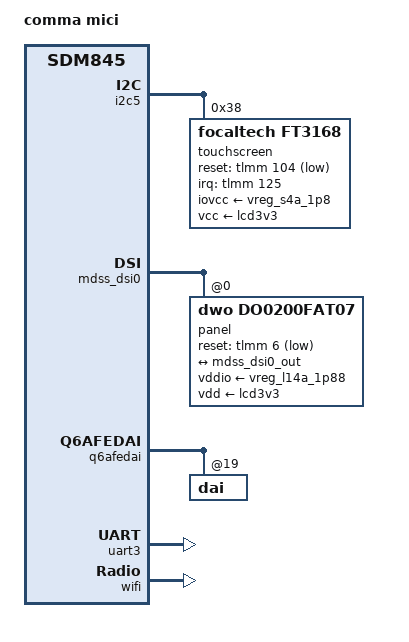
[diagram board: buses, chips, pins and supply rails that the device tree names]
/dts-v1/;

#include "sdm845-comma-common.dtsi"

/ {
	model = "comma mici";
	compatible = "comma,mici", "qcom,sdm845";
	qcom,msm-id = <QCOM_ID_SDA845 0x20001>, <QCOM_ID_SDM845 0x20001>,
		      <QCOM_ID_SDM845 0x20000>, <348 0x20001>;
	qcom,board-id = <0x22 0>;

	aliases {
		hsuart0 = &uart3;
	};
};

&i2c5 {
	touchscreen@38 {
		compatible = "focaltech,ft3168";
		reg = <0x38>;

		interrupts-extended = <&tlmm 125 IRQ_TYPE_EDGE_FALLING>;
		reset-gpios = <&tlmm 104 GPIO_ACTIVE_LOW>;

		iovcc-supply = <&vreg_s4a_1p8>;
		vcc-supply = <&lcd3v3>;

		touchscreen-size-x = <240>;
		touchscreen-size-y = <536>;
	};
};

&mdss_dsi0 {
	panel@0 {
		compatible = "dwo,do0200fat07";

		reg = <0>;

		vddio-supply = <&vreg_l14a_1p88>;
		vdd-supply = <&lcd3v3>;

		reset-gpios = <&tlmm 6 GPIO_ACTIVE_LOW>;

		rotation = <90>;

		port {
			panel_in: endpoint {
				remote-endpoint = <&mdss_dsi0_out>;
			};
		};
	};
};

&mdss_dsi0_out {
	remote-endpoint = <&panel_in>;
	data-lanes = <0>;
};

&q6afedai {
	dai@19 {
		reg = <SECONDARY_MI2S_TX>;
		qcom,sd-lines = <0>;
	};
};

&sound {
	model = "comma-mici";
	pinctrl-0 = <&sec_mi2s_active>;

	mic-dai-link {
		link-name = "Secondary MI2S Capture";
		cpu {
			sound-dai = <&q6afedai SECONDARY_MI2S_TX>;
		};

		platform {
			sound-dai = <&q6routing>;
		};

		codec {
			sound-dai = <&mic_codec>;
		};
	};
};

&uart3 {
	status = "okay";
};

&wifi {
	qcom,calibration-variant = "comma-mici";
};
